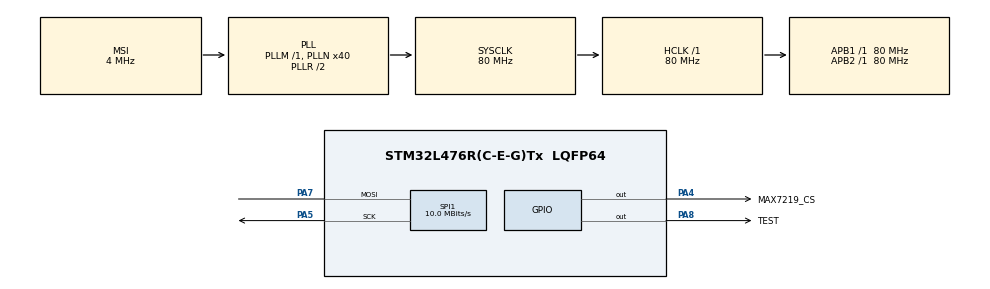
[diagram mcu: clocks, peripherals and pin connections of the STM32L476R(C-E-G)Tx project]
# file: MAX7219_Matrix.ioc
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Mcu.Family=STM32L4
Mcu.Name=STM32L476R(C-E-G)Tx
Mcu.Package=LQFP64
NVIC.PriorityGroup=NVIC_PRIORITYGROUP_4
PA4.GPIO_Label=MAX7219_CS
PA4.Signal=GPIO_Output
PA5.Mode=Simplex_Bidirectional_Master
PA5.Signal=SPI1_SCK
PA7.Mode=Simplex_Bidirectional_Master
PA7.Signal=SPI1_MOSI
PA8.GPIO_Label=TEST
PA8.Signal=GPIO_Output
ProjectManager.HeapSize=0x200
ProjectManager.StackSize=0x400
ProjectManager.TargetToolchain=SW4STM32
RCC.AHBFreq_Value=80000000
RCC.APB1Freq_Value=80000000
RCC.APB1TimFreq_Value=80000000
RCC.APB2Freq_Value=80000000
RCC.APB2TimFreq_Value=80000000
RCC.CortexFreq_Value=80000000
RCC.HCLKFreq_Value=80000000
RCC.HSE_VALUE=8000000
RCC.HSI_VALUE=16000000
RCC.LSE_VALUE=32768
RCC.MSI_VALUE=4000000
RCC.PLLN=40
RCC.SYSCLKFreq_VALUE=80000000
RCC.SYSCLKSource=RCC_SYSCLKSOURCE_PLLCLK
RCC.VCOOutputFreq_Value=160000000
SPI1.BaudRatePrescaler=SPI_BAUDRATEPRESCALER_8
SPI1.CalculateBaudRate=10.0 MBits/s
SPI1.DataSize=SPI_DATASIZE_8BIT
SPI1.Direction=SPI_DIRECTION_1LINE
SPI1.Mode=SPI_MODE_MASTER
SPI1.VirtualType=VM_MASTER
board=custom

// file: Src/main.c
/* USER CODE BEGIN Header */
/**
  ******************************************************************************
  * @file           : main.c
  * @brief          : Main program body
  ******************************************************************************
  ** This notice applies to any and all portions of this file
  * that are not between comment pairs USER CODE BEGIN and
  * USER CODE END. Other portions of this file, whether
  * inserted by the user or by software development tools
  * are owned by their respective copyright owners.
  *
  * COPYRIGHT(c) 2019 STMicroelectronics
  *
  * Redistribution and use in source and binary forms, with or without modification,
  * are permitted provided that the following conditions are met:
  *   1. Redistributions of source code must retain the above copyright notice,
  *      this list of conditions and the following disclaimer.
  *   2. Redistributions in binary form must reproduce the above copyright notice,
  *      this list of conditions and the following disclaimer in the documentation
  *      and/or other materials provided with the distribution.
  *   3. Neither the name of STMicroelectronics nor the names of its contributors
  *      may be used to endorse or promote products derived from this software
  *      without specific prior written permission.
  *
  * THIS SOFTWARE IS PROVIDED BY THE COPYRIGHT HOLDERS AND CONTRIBUTORS "AS IS"
  * AND ANY EXPRESS OR IMPLIED WARRANTIES, INCLUDING, BUT NOT LIMITED TO, THE
  * IMPLIED WARRANTIES OF MERCHANTABILITY AND FITNESS FOR A PARTICULAR PURPOSE ARE
  * DISCLAIMED. IN NO EVENT SHALL THE COPYRIGHT HOLDER OR CONTRIBUTORS BE LIABLE
  * FOR ANY DIRECT, INDIRECT, INCIDENTAL, SPECIAL, EXEMPLARY, OR CONSEQUENTIAL
  * DAMAGES (INCLUDING, BUT NOT LIMITED TO, PROCUREMENT OF SUBSTITUTE GOODS OR
  * SERVICES; LOSS OF USE, DATA, OR PROFITS; OR BUSINESS INTERRUPTION) HOWEVER
  * CAUSED AND ON ANY THEORY OF LIABILITY, WHETHER IN CONTRACT, STRICT LIABILITY,
  * OR TORT (INCLUDING NEGLIGENCE OR OTHERWISE) ARISING IN ANY WAY OUT OF THE USE
  * OF THIS SOFTWARE, EVEN IF ADVISED OF THE POSSIBILITY OF SUCH DAMAGE.
  *
  ******************************************************************************
  *  The MIT License.
  *  Created on: 01.02.2019
  *		Author: Mateusz Salamon
  *		www.msalamon.pl
  *		mateusz@msalamon.pl
  *
  *      Website: https://msalamon.pl/nigdy-wiecej-multipleksowania-na-gpio!-max7219-w-akcji-cz-3/
  *      GitHub:  https://github.com/lamik/MAX7219_matrix_STM32_HAL
  */

/* USER CODE END Header */

#include "main.h"
#include "spi.h"
#include "gpio.h"

/* USER CODE BEGIN Includes */
#include "max7219_matrix.h"
#include "GFX_BW.h"
#include "fonts/fonts.h"
#include <string.h>
/* USER CODE END Includes */

/* USER CODE BEGIN PV */
char Text[] = "www.msalamon.pl";
uint8_t TextSize;
/* USER CODE END PV */

void SystemClock_Config(void);

int main(void)
{

  /* MCU Configuration--------------------------------------------------------*/

  /* Reset of all peripherals, Initializes the Flash interface and the Systick. */
  HAL_Init();

  /* Configure the system clock */
  SystemClock_Config();

  /* Initialize all configured peripherals */
  MX_GPIO_Init();
  MX_SPI1_Init();
  /* USER CODE BEGIN 2 */
  MAX7219_Init(&hspi1);
  HAL_Delay(1000);

  GFX_SetFont(font_7x5);
  GFX_SetFontSize(1);

  MAX7219_Clear(MAX7219_BLACK);
  MAX7219_Display();

  TextSize = strlen(Text);
  /* USER CODE END 2 */

  /* Infinite loop */
  /* USER CODE BEGIN WHILE */
  while (1)
  {
	  int i=0;
	  for(i = MAX7219_X_PIXELS; i > ((TextSize * (GFX_GetFontWidth() + 1)) * -1); i--)
	  {
		  MAX7219_Clear(MAX7219_BLACK);
		  GFX_DrawString(i,0, Text, MAX7219_WHITE, MAX7219_BLACK);
		  HAL_GPIO_WritePin(TEST_GPIO_Port, TEST_Pin, GPIO_PIN_RESET);
		  MAX7219_Display();
		  HAL_GPIO_WritePin(TEST_GPIO_Port, TEST_Pin, GPIO_PIN_SET);
		  HAL_Delay(70);
	  }
	  HAL_Delay(1000);

	  for(i = ((TextSize *  (GFX_GetFontWidth() + 1)) * -1); i <= MAX7219_X_PIXELS; i++)
	  {
		  MAX7219_Clear(MAX7219_BLACK);
		  GFX_DrawString(i,0, Text, MAX7219_WHITE, MAX7219_BLACK);
		  HAL_GPIO_WritePin(TEST_GPIO_Port, TEST_Pin, GPIO_PIN_RESET);
		  MAX7219_Display();
		  HAL_GPIO_WritePin(TEST_GPIO_Port, TEST_Pin, GPIO_PIN_SET);
		  HAL_Delay(70);
	  }
		  HAL_Delay(1000);
    /* USER CODE END WHILE */

  }
}

void SystemClock_Config(void)
{
  RCC_OscInitTypeDef RCC_OscInitStruct = {0};
  RCC_ClkInitTypeDef RCC_ClkInitStruct = {0};

  /**Initializes the CPU, AHB and APB busses clocks
  */
  RCC_OscInitStruct.OscillatorType = RCC_OSCILLATORTYPE_MSI;
  RCC_OscInitStruct.MSIState = RCC_MSI_ON;
  RCC_OscInitStruct.MSICalibrationValue = 0;
  RCC_OscInitStruct.MSIClockRange = RCC_MSIRANGE_6;
  RCC_OscInitStruct.PLL.PLLState = RCC_PLL_ON;
  RCC_OscInitStruct.PLL.PLLSource = RCC_PLLSOURCE_MSI;
  RCC_OscInitStruct.PLL.PLLM = 1;
  RCC_OscInitStruct.PLL.PLLN = 40;
  RCC_OscInitStruct.PLL.PLLP = RCC_PLLP_DIV7;
  RCC_OscInitStruct.PLL.PLLQ = RCC_PLLQ_DIV2;
  RCC_OscInitStruct.PLL.PLLR = RCC_PLLR_DIV2;
  if (HAL_RCC_OscConfig(&RCC_OscInitStruct) != HAL_OK)
  {
    Error_Handler();
  }
  /**Initializes the CPU, AHB and APB busses clocks
  */
  RCC_ClkInitStruct.ClockType = RCC_CLOCKTYPE_HCLK|RCC_CLOCKTYPE_SYSCLK
                              |RCC_CLOCKTYPE_PCLK1|RCC_CLOCKTYPE_PCLK2;
  RCC_ClkInitStruct.SYSCLKSource = RCC_SYSCLKSOURCE_PLLCLK;
  RCC_ClkInitStruct.AHBCLKDivider = RCC_SYSCLK_DIV1;
  RCC_ClkInitStruct.APB1CLKDivider = RCC_HCLK_DIV1;
  RCC_ClkInitStruct.APB2CLKDivider = RCC_HCLK_DIV1;

  if (HAL_RCC_ClockConfig(&RCC_ClkInitStruct, FLASH_LATENCY_4) != HAL_OK)
  {
    Error_Handler();
  }
  /**Configure the main internal regulator output voltage
  */
  if (HAL_PWREx_ControlVoltageScaling(PWR_REGULATOR_VOLTAGE_SCALE1) != HAL_OK)
  {
    Error_Handler();
  }
}

void Error_Handler(void)
{
}

/************************ (C) COPYRIGHT STMicroelectronics *****END OF FILE****/
